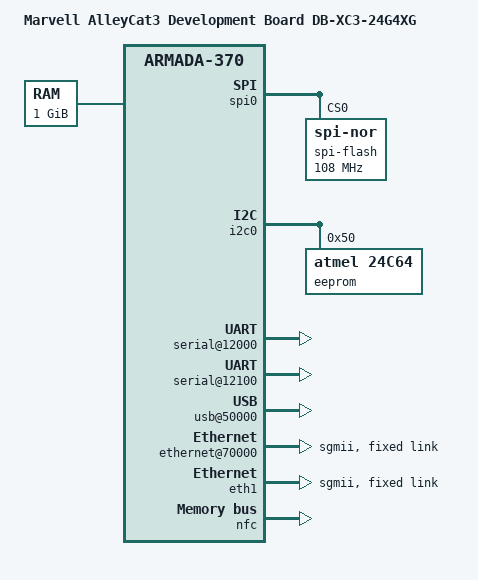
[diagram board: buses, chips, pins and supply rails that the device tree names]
/*
 * Device Tree file for Marvell AlleyCat3 development board
 * (DB-XC3-24G4XG)
 *
 * Copyright (C) 2015 Marvell
 *
 * This file is licensed under the terms of the GNU General Public
 * License version 2.  This program is licensed "as is" without any
 * warranty of any kind, whether express or implied.
 */

/dts-v1/;
#include "msys-ac3.dtsi"

/ {
	model = "Marvell AlleyCat3 Development Board DB-XC3-24G4XG";
	compatible = "marvell,msys", "marvell,msys-ac3",
		     "marvell,msys-ac3-db", "marvell,armada-370-xp";

	chosen {
		stdout-path = "serial0:115200n8";
	};

	memory {
		/*
		 * 1GB of plug-in RAM modules by default. The amount
		 * of memory available can be changed by the
		 * bootloader according the size of the module
		 * actually plugged.
		 */
		device_type = "memory";
		reg = <0x00000000 0x00000000 0x00000000 0x40000000>;
	};

	soc {
		ranges = <MBUS_ID(0xf0, 0x01) 0 0 0xf1000000 0x100000
			  MBUS_ID(0x01, 0x1d) 0 0 0xfff00000 0x100000
			  MBUS_ID(0x01, 0x2f) 0 0 0xf0000000 0x1000000
			  MBUS_ID(0x03, 0x00) 0 0 0xf8000000 0x4000000	/* switch */
			  MBUS_ID(0x08, 0x00) 0 0 0xfc000000 0x100000	/* dfx */
			  MBUS_ID(0x0a, 0x00) 0 0 0x80000000 0x8000000>;	/* dragonite */

		internal-regs {
			spi0: spi@10600 {
				status = "okay";

				spi-flash@0 {
					#address-cells = <1>;
					#size-cells = <1>;
					compatible = "jedec,spi-nor";
					reg = <0>; /* Chip select 0 */
					spi-max-frequency = <108000000>;
				};
			};

			i2c0: i2c@11000 {
				pinctrl-names = "default";
				pinctrl-0 = <&i2c0_pins>;
				eeprom@50 {
					compatible = "atmel,24c64";
					pagesize = <32>;
					reg = <0x50>;
					marvell,board_id_reg = <0x7>;
				};
			};

			serial@12000 {
				status = "okay";
			};

			serial@12100 {
				pinctrl-names = "default";
				pinctrl-0 = <&uart1_pins>;
				status = "okay";
			};

			usb@50000 {
				status = "okay";
			};

			ethernet@70000 {
				status = "okay";
				compatible = "marvell,armada-xp-neta";
				phy-mode = "sgmii";
				fixed-link {
					speed = <1000>;
					full-duplex;
				};
			};
			eth1:ethernet@74000 {
				status = "okay";
				compatible = "marvell,armada-xp-neta";
				phy-mode = "sgmii";
				fixed-link {
					speed = <1000>;
					full-duplex;
				};
			};

			nfc: nand@d0000 {
				status = "okay";
				#address-cells = <1>;
				#size-cells = <1>;

				num-cs = <1>;
				nand-ecc-strength = <4>;
				nand-ecc-step-size = <512>;
				marvell,nand-keep-config;
				marvell,nand-enable-arbiter;
				nand-on-flash-bbt;

				partition@0 {
					label = "U-Boot";
					reg = <0x00000000 0x00800000>;
					read-only;
				};

				partition@800000 {
					label = "uImage";
					reg = <0x00800000 0x00800000>;
					read-only;
				};

				partition@1000000 {
					label = "Root";
					reg = <0x01000000 0x3f000000>;
				};
			};
		};
	};
};
